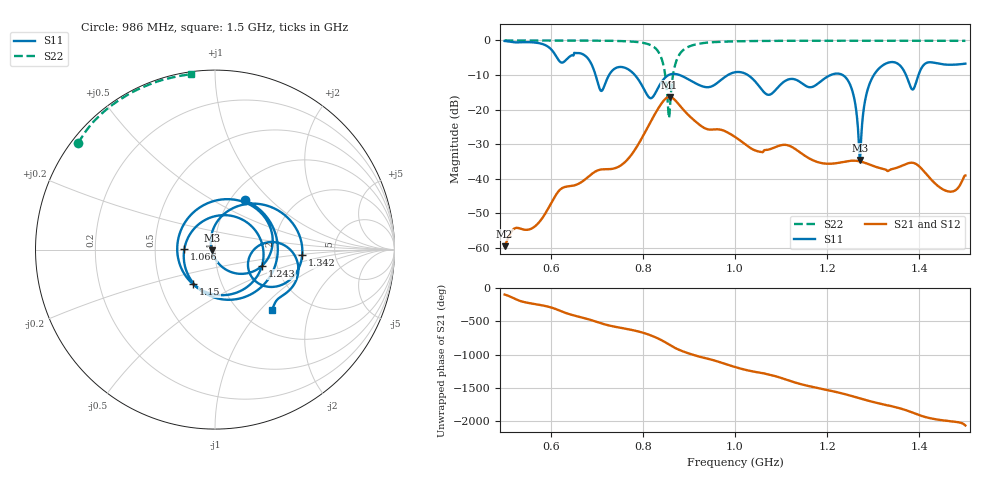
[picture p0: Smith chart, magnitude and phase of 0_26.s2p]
! TOUCHSTONE file generated by CST MICROWAVE STUDIO
! Date and time: Sat Oct 24 10:46:24 2020
! Project name: Scenario_1_Planar_Body_Tissue_Center.cst
! Parameters = {hfat=3; hmuscle=50; hskin=1.5; hgap=25; Wtissue=700; Ltissue=700; L_HA=400; MT=2.54; Rad_Dielectric=30; Rad_Lower=7.3; Rad_Upper=30; a_HA=580; a_WG=246; b_HA=500; b_WG=121; c_HA=0; c_WG=187; d_feed=85; dx1=606; h_feed=15; h_lower=18; h_upper=40}
! Header version: 2018
! Port assignment regex: !\s*Touchstone port\s*([0-9]+)\s*=\s*(CST MWS port|CST DS port)\s*([0-9]+|Zmin|Zmax)\s*\(\"(.*)\"\)(\s*mode\s*([0-9]+))?.*
! Touchstone port assignment:
! Touchstone port 1 = CST MWS port 1 ("")
! Touchstone port 2 = CST MWS port 2 ("")
# GHz S DB R 50
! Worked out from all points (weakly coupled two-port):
!   1003 points, 500 MHz to 1.5 GHz, reference 50 ohm
!   highest |S21| = -16.34 dB at 858 MHz (marker M1); lowest = -59.5 dB at 500 MHz (marker M2)
!   lowest |S11| = -34.6 dB at 1.271 GHz (marker M3), VSWR 1.04, Z = 48.2 - j0.462 ohm
!   |S11| at or under -10 dB: 782.6 MHz to 856.1 MHz (73.47 MHz wide, 8.97 % of centre); 879.6 MHz to 984.6 MHz (105.1 MHz wide, 11.3 % of centre); 1.028 GHz to 1.208 GHz (179.8 MHz wide, 16.1 % of centre)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
!   |S22| runs from -22.5 to 0.0 dB; largest |S21 - S12| = 0.00021
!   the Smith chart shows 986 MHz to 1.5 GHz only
!   S11 on the Smith chart (normalised r, x): 986 MHz: 1.16, +0.71; 1.066 GHz: 0.71, +0.00; 1.15 GHz: 0.73, -0.29; 1.243 GHz: 1.67, -0.33; 1.342 GHz: 2.88, -0.23; 1.5 GHz: 1.36, -1.16
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0.5  -0.16 -122.5  -59.49 -95.1  -59.49 -95.1  -0.01 151.1
0.667  -3.84 138.3  -40.94 -79.3  -40.94 -79.3  -0.04 138.3
0.701  -11.70 29.0  -37.64 -148.9  -37.64 -148.9  -0.07 134.7
0.741  -8.00 179.0  -36.89 137.9  -36.89 137.9  -0.14 129.0
0.799  -13.22 33.3  -27.97 52.9  -27.97 52.9  -0.66 113.0
0.834  -13.50 -149.3  -19.53 -39.8  -19.54 -39.8  -3.35 82.4
0.858  -9.89 120.1  -16.34 -132.0  -16.34 -132.0  -21.05 -83.3
0.893  -10.82 13.0  -20.78 114.1  -20.78 114.1  -2.25 172.1
0.951  -13.19 178.2  -25.78 1.0  -25.78 1.0  -0.52 148.4
0.986  -9.90 58.8  -26.75 -76.6  -26.75 -76.6  -0.31 142.1
1  -9.20 19.3  -27.89 -106.2  -27.89 -106.2  -0.26 140.1
1.066  -15.34 179.5  -31.70 152.3  -31.68 152.1  -0.14 132.7
1.114  -11.36 -2.8  -30.30 57.7  -30.30 57.7  -0.11 128.4
1.15  -12.84 -122.9  -33.20 -16.4  -33.20 -16.4  -0.10 125.4
1.167  -13.47 168.6  -34.52 -43.6  -34.52 -43.6  -0.10 124.1
1.243  -11.16 -19.1  -34.94 -162.8  -34.94 -162.8  -0.08 118.3
1.271  -34.59 -165.1  -34.97 141.6  -34.97 141.6  -0.08 116.2
1.292  -12.57 69.8  -35.89 101.3  -35.89 101.3  -0.08 114.6
1.334  -6.37 7.4  -37.57 33.9  -37.57 33.9  -0.09 111.4
1.342  -6.25 -3.6  -37.16 20.5  -37.16 20.5  -0.09 110.8
1.385  -14.18 -17.2  -35.37 -71.2  -35.37 -71.2  -0.09 107.5
1.5  -6.72 -46.5  -39.03 94.3  -39.03 94.3  -0.12 97.8
